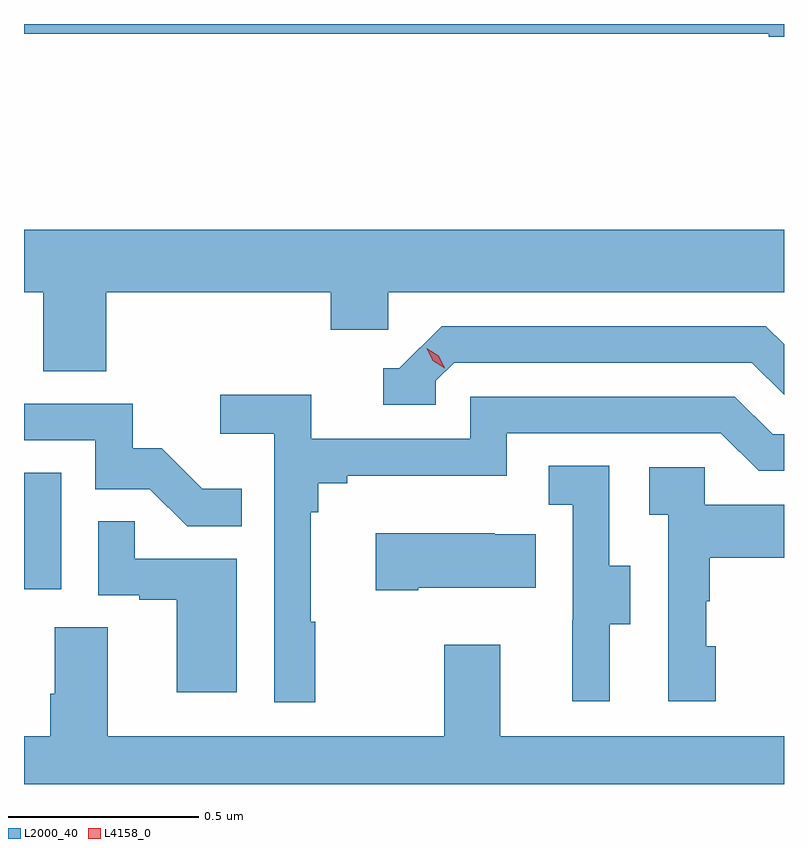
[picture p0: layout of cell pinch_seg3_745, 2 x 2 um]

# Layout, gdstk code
import gdstk
lib = gdstk.Library(unit=1e-6, precision=1e-09)
def R(c, l, rs):  # rectangles x0, y0, x1, y1
    for r in rs: c.add(gdstk.rectangle(r[:2], r[2:], *l))
def P(c, l, *ps):  # polygons
    for p in ps: c.add(gdstk.Polygon(p, *l))
L2000_40 = (2000, 40)
L4158_0 = (4158, 0)

pinch_seg3_745 = lib.new_cell('pinch_seg3_745')
R(pinch_seg3_745, L2000_40, [(881.114,734.766,881.212,735.073)])
P(pinch_seg3_745, L2000_40, [(883.114,736.254),(881.114,736.254),(881.114,736.228),(883.074,736.228),(883.074,736.22),(883.114,736.22)],
  [(881.114,735.548),(881.165,735.548),(881.165,735.34),(881.33,735.34),(881.33,735.548),(881.921,735.548),(881.921,735.45),(882.072,735.45),(882.072,735.548),(883.114,735.548),(883.114,735.712),(881.114,735.712)],
  [(882.198,735.315),(882.246,735.363),(883.029,735.363),(883.114,735.278),(883.114,735.411),(883.066,735.459),(882.213,735.459),(882.102,735.348),(882.059,735.348),(882.059,735.252),(882.198,735.252)],
  [(881.881,734.681),(881.869,734.681),(881.869,734.969),(881.888,734.969),(881.888,735.046),(881.965,735.046),(881.965,735.065),(882.384,735.065),(882.384,735.177),(882.948,735.177),(883.047,735.078),(883.114,735.078),(883.114,735.174),(883.084,735.174),(882.985,735.273),(882.288,735.273),(882.288,735.162),(881.87,735.162),(881.87,735.278),(881.631,735.278),(881.631,735.176),(881.772,735.176),(881.772,734.469),(881.881,734.469)],
  [(881.687,735.031),(881.583,735.031),(881.476,735.138),(881.4,735.138),(881.4,735.255),(881.114,735.255),(881.114,735.159),(881.301,735.159),(881.301,735.03),(881.445,735.03),(881.543,734.932),(881.687,734.932)],
  [(882.655,734.674),(882.709,734.674),(882.709,734.829),(882.654,734.829),(882.654,735.092),(882.495,735.092),(882.495,734.989),(882.558,734.989),(882.558,734.685),(882.557,734.685),(882.557,734.472),(882.655,734.472)],
  [(882.934,734.616),(882.909,734.616),(882.909,734.735),(882.919,734.735),(882.919,734.849),(883.114,734.849),(883.114,734.989),(882.906,734.989),(882.906,735.087),(882.759,735.087),(882.759,734.963),(882.81,734.963),(882.81,734.472),(882.934,734.472)],
  [(881.674,734.847),(881.405,734.847),(881.405,734.945),(881.31,734.945),(881.31,734.751),(881.417,734.751),(881.417,734.739),(881.516,734.739),(881.516,734.496),(881.674,734.496)],
  [(882.151,734.771),(882.461,734.771),(882.461,734.911),(882.353,734.911),(882.353,734.914),(882.039,734.914),(882.039,734.764),(882.151,734.764)],
  [(883.114,734.38),(882.367,734.38),(882.367,734.62),(882.22,734.62),(882.22,734.38),(881.335,734.38),(881.335,734.666),(881.195,734.666),(881.195,734.492),(881.183,734.492),(881.183,734.38),(881.114,734.38),(881.114,734.254),(883.114,734.254)])
P(pinch_seg3_745, L4158_0, [(882.221,735.348),(882.19,735.368),(882.174,735.4),(882.174,735.401),(882.174,735.401),(882.205,735.381),(882.221,735.348),(882.221,735.348)])

lib.write_gds('pinch_seg3_745.gds')
